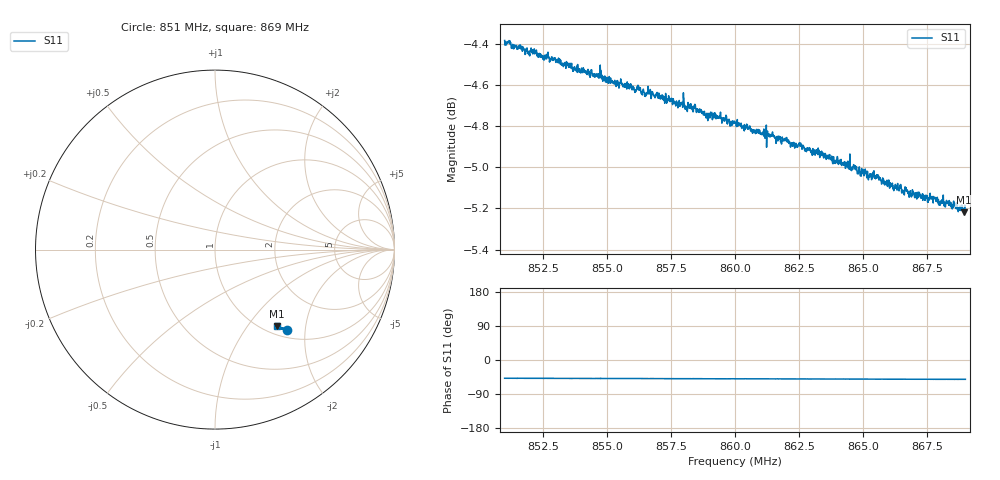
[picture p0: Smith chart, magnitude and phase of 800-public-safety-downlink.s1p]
! Calibrated averaged scanner-service zoom
# Hz S RI R 50
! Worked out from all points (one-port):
!   2001 points, 851 MHz to 869 MHz, reference 50 ohm
!   lowest |S11| = -5.2 dB at 868.94 MHz (marker M1), VSWR 3.43, Z = 57 - j69.6 ohm
!   |S11| at or under -10 dB: nowhere
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8.51e8  0.4025 -0.45
8.51873e8  0.3996 -0.4492
8.5208e8  0.3988 -0.4483
8.5235e8  0.3974 -0.4477
8.53016e8  0.3951 -0.4472
8.5325e8  0.3947 -0.4463
8.53538e8  0.3932 -0.4467
8.53934e8  0.3919 -0.4452
8.54501e8  0.3897 -0.4451
8.54726e8  0.3905 -0.4449
8.54915e8  0.3897 -0.4453
8.555e8  0.3877 -0.4443
8.5775e8  0.3808 -0.4415
8.58245e8  0.3802 -0.4403
8.58929e8  0.376 -0.4389
8.6e8  0.3736 -0.439
8.6225e8  0.3668 -0.436
8.62574e8  0.3658 -0.4358
8.62763e8  0.3641 -0.4353
8.645e8  0.36 -0.4328
8.64689e8  0.3589 -0.4336
8.64842e8  0.3585 -0.4319
8.65589e8  0.3555 -0.4316
8.66111e8  0.3535 -0.4299
8.66381e8  0.3517 -0.4303
8.6675e8  0.3503 -0.4303
8.68937e8  0.3435 -0.4274
8.69e8  0.3456 -0.4267
